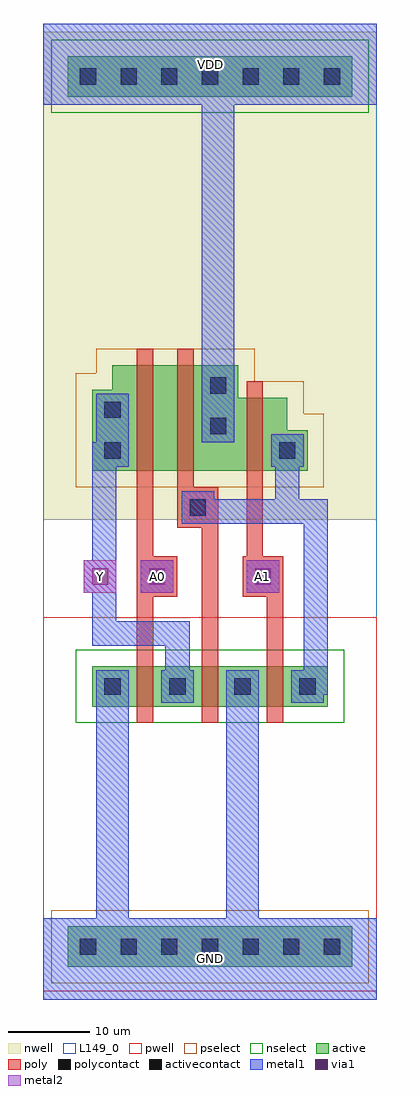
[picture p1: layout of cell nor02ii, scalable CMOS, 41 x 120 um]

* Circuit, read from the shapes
.subckt nor02ii A0 A1 GND VDD Y
M1 Y A0 GND GND nfet w=5u l=2u
M2 GND n1 Y GND nfet w=5u l=2u
M3 n1 A1 GND GND nfet w=5u l=2u
M4 n2 A0 Y VDD pfet w=13u l=2u
M5 VDD n1 n2 VDD pfet w=13u l=2u
M6 n1 A1 VDD VDD pfet w=9u l=2u
.ends

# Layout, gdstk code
import gdstk
lib = gdstk.Library(unit=1e-6, precision=1e-09)
def R(c, l, rs):  # rectangles x0, y0, x1, y1
    for r in rs: c.add(gdstk.rectangle(r[:2], r[2:], *l))
def A(c, l, x, y, w, h, nx, ny, dx, dy):  # array of equal rectangles
    R(c, l, [(x+i*dx, y+j*dy, x+i*dx+w, y+j*dy+h) for i in range(nx) for j in range(ny)])
def P(c, l, *ps):  # polygons
    for p in ps: c.add(gdstk.Polygon(p, *l))
pwell = (41, 0)
nwell = (42, 0)
active = (43, 0)
pselect = (44, 0)
nselect = (45, 0)
poly = (46, 0)
polycontact = (47, 0)
activecontact = (48, 0)
metal1 = (49, 0)
via1 = (50, 0)
metal2 = (51, 0)
L149_0 = (149, 0)

via = lib.new_cell('via')
R(via, metal1, [(-2,-2,2,2)])
R(via, via1, [(-1,-1,1,1)])
R(via, metal2, [(-2,-2,2,2)])

nor02ii = lib.new_cell('nor02ii')
R(nor02ii, pwell, [(0,1,41,11), (0,10,41,47), (0,30,41,47)])
R(nor02ii, nwell, [(0,59,41,110), (0,109,41,119)])
P(nor02ii, nwell, [(38.5,59),(38.5,76),(36,76),(36,80),(30,80),(30,84),(2.5,84),(2.5,81),(0,81),(0,59)])
R(nor02ii, active, [(3,4,38,9), (6,36,35,41), (6,36,11.5,41), (29.5,36,35,41), (3,111,38,116)])
P(nor02ii, active, [(32.5,65),(32.5,70),(30,70),(30,74),(24,74),(24,78),(8.5,78),(8.5,75),(6,75),(6,65)],
  [(11.5,65),(11.5,78),(8.5,78),(8.5,75),(6,75),(6,65)],
  [(32.5,65),(32.5,70),(30,70),(30,74),(27,74),(27,65)])
R(nor02ii, pselect, [(1,2,40,11)])
P(nor02ii, pselect, [(34.5,63),(34.5,72),(32,72),(32,76),(26,76),(26,80),(6.5,80),(6.5,77),(4,77),(4,63)])
R(nor02ii, nselect, [(4,34,37,43), (1,109,40,118)])
A(nor02ii, poly, 11.5, 34, 2, 2, 3, 2, 8, 7)
A(nor02ii, poly, 11.5, 36, 2, 5, 3, 1, 8, 0)
R(nor02ii, poly, [(11.5,49.5,16.5,54.5), (24.5,49.5,29.5,54.5), (16.5,58,21.5,63), (11.5,63,13.5,65), (16.5,63,18.5,65), (25,63,27,65), (11.5,65,13.5,78), (16.5,65,18.5,78), (25,65,27,74), (25,74,27,76), (11.5,78,13.5,80), (16.5,78,18.5,80)])
R(nor02ii, polycontact, [(13,51,15,53), (26,51,28,53), (18,59.5,20,61.5)])
A(nor02ii, activecontact, 4.5, 5.5, 2, 2, 7, 2, 5, 107)
A(nor02ii, activecontact, 7.5, 37.5, 2, 2, 4, 1, 8, 0)
R(nor02ii, activecontact, [(7.5,66.5,9.5,68.5), (29,66.5,31,68.5), (20.5,69.5,22.5,71.5), (7.5,71.5,9.5,73.5), (20.5,74.5,22.5,76.5)])
A(nor02ii, metal1, 6.5, 36.5, 4, 4, 4, 1, 8, 0)
R(nor02ii, metal1, [(0,0,41,10), (0,0,41,10), (12,50,16,54), (25,50,29,54), (17,58.5,21,62.5), (6.5,65.5,10.5,74.5), (28,65.5,32,69.5), (19.5,68.5,23.5,77.5), (0,110,41,120), (0,110,41,120)])
R(nor02ii, metal2, [(5,50,9,54), (12,50,16,54), (25,50,29,54)])
R(nor02ii, L149_0, [(0,0,41,120)])
nor02ii.add(gdstk.FlexPath([(12.5,63),(12.5,43)], 2, ends="flush", simple_path=True, layer=46, datatype=0))  # poly
nor02ii.add(gdstk.FlexPath([(26,63),(26,54.5)], 2, ends="flush", simple_path=True, layer=46, datatype=0))  # poly
nor02ii.add(gdstk.FlexPath([(28.5,49.5),(28.5,43)], 2, ends="flush", simple_path=True, layer=46, datatype=0))  # poly
nor02ii.add(gdstk.FlexPath([(20.5,43),(20.5,58)], 2, ends="flush", simple_path=True, layer=46, datatype=0))  # poly
nor02ii.add(gdstk.FlexPath([(24.5,36.5),(24.5,10)], 4, ends="flush", simple_path=True, layer=49, datatype=0))  # metal1
nor02ii.add(gdstk.FlexPath([(8.5,36.5),(8.5,10)], 4, ends="flush", simple_path=True, layer=49, datatype=0))  # metal1
nor02ii.add(gdstk.FlexPath([(16.5,40.5),(16.5,45),(7.5,45),(7.5,68.5)], 3, ends="flush", simple_path=True, layer=49, datatype=0))  # metal1
nor02ii.add(gdstk.FlexPath([(21.5,77.5),(21.5,110)], 4, ends="flush", simple_path=True, layer=49, datatype=0))  # metal1
nor02ii.add(gdstk.FlexPath([(30,65.5),(30,60),(21,60)], 3, ends="flush", simple_path=True, layer=49, datatype=0))  # metal1
nor02ii.add(gdstk.FlexPath([(31.5,60),(33.5,60),(33.5,37.5)], 3, ends="flush", simple_path=True, layer=49, datatype=0))  # metal1
nor02ii.add(gdstk.Reference(via, (27,52)))
nor02ii.add(gdstk.Reference(via, (14,52)))
nor02ii.add(gdstk.Reference(via, (7,52)))
nor02ii.add(gdstk.Label('A1', (27,52), layer=3, texttype=0))
nor02ii.add(gdstk.Label('Y', (7,52), layer=3, texttype=0))
nor02ii.add(gdstk.Label('A0', (14,52), layer=3, texttype=0))
nor02ii.add(gdstk.Label('GND', (20.5,5), layer=2, texttype=0))
nor02ii.add(gdstk.Label('VDD', (20.5,115), layer=2, texttype=0))

lib.write_gds('nor02ii.gds')
